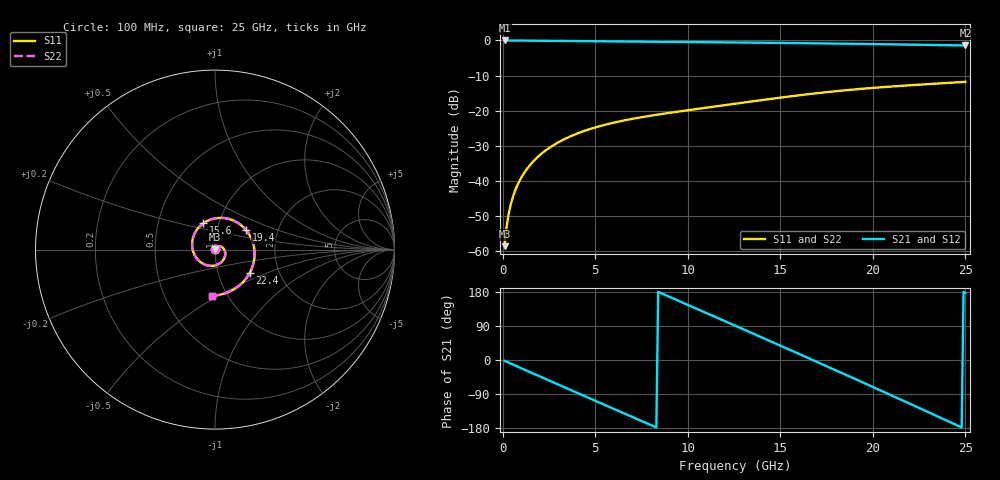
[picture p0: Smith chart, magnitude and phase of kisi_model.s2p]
! kisi A_s4_d200_ap800: fast channel model (formula impedances, via model), up to 25 GHz
# Hz S RI R 50
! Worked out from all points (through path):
!   250 points, 100 MHz to 25 GHz, reference 50 ohm
!   highest |S21| = -0.01 dB at 100 MHz (marker M1); lowest = -1.4 dB at 25 GHz (marker M2)
!   group delay of S21, straight-line fit = 60.1 ps
!   lowest |S11| = -58.6 dB at 100 MHz (marker M3), VSWR 1.00, Z = 50.1 + j0.0988 ohm
!   |S11| at or under -10 dB: start of sweep to end of sweep
!   |S22| runs from -58.6 to -11.8 dB; largest |S21 - S12| = 0
!   S11 on the Smith chart (normalised r, x): 100 MHz: 1.00, +0.00; 15.6 GHz: 0.84, +0.25; 19.4 GHz: 1.38, +0.32; 22.4 GHz: 1.41, -0.39; 25 GHz: 0.85, -0.46
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1e8  0.000633 0.000987  0.998 -0.0388  0.998 -0.0388  0.000633 0.000987
3e8  0.000778 0.00307  0.991 -0.1148  0.991 -0.1148  0.000778 0.00307
5e8  0.00119 0.00521  0.9783 -0.1895  0.9783 -0.1895  0.00119 0.00521
1.2e9  0.0051 0.0125  0.8917 -0.4369  0.8917 -0.4369  0.0051 0.0125
2.8e9  0.0268 0.0192  0.4853 -0.8574  0.4853 -0.8574  0.0268 0.0192
4.3e9  0.0502 0.00259  -0.0443 -0.9768  -0.0443 -0.9768  0.0502 0.00259
5.4e9  0.0574 -0.0226  -0.4279 -0.8731  -0.4279 -0.8731  0.0574 -0.0226
6.6e9  0.0482 -0.0547  -0.7587 -0.5983  -0.7587 -0.5983  0.0482 -0.0547
8.4e9  0.000843 -0.088  -0.9571 0.00319  -0.9571 0.00319  0.000843 -0.088
9.5e9  -0.0399 -0.0884  -0.8713 0.3827  -0.8713 0.3827  -0.0399 -0.0884
1.07e10  -0.0836 -0.0674  -0.6151 0.7181  -0.6151 0.7181  -0.0836 -0.0674
1.17e10  -0.1117 -0.034  -0.3081 0.8884  -0.3081 0.8884  -0.1117 -0.034
1.26e10  -0.1257 0.0057  0.0037 0.9356  0.0037 0.9356  -0.1257 0.0057
1.4e10  -0.1192 0.076  0.4696 0.8001  0.4696 0.8001  -0.1192 0.076
1.56e10  -0.0644 0.1469  0.8324 0.3874  0.8324 0.3874  -0.0644 0.1469
1.67e10  -0.00122 0.1738  0.9109 0.0168  0.9109 0.0168  -0.00122 0.1738
1.8e10  0.0867 0.1681  0.8017 -0.4137  0.8017 -0.4137  0.0867 0.1681
1.94e10  0.1726 0.1098  0.4732 -0.756  0.4732 -0.756  0.1726 0.1098
2.09e10  0.2195 -0.00223  -0.0153 -0.8803  -0.0153 -0.8803  0.2195 -0.00223
2.24e10  0.1927 -0.1316  -0.4887 -0.7179  -0.4887 -0.7179  0.1927 -0.1316
2.38e10  0.0985 -0.2254  -0.7798 -0.3552  -0.7798 -0.3552  0.0985 -0.2254
2.5e10  -0.0187 -0.2564  -0.8459 0.0372  -0.8459 0.0372  -0.0187 -0.2564
